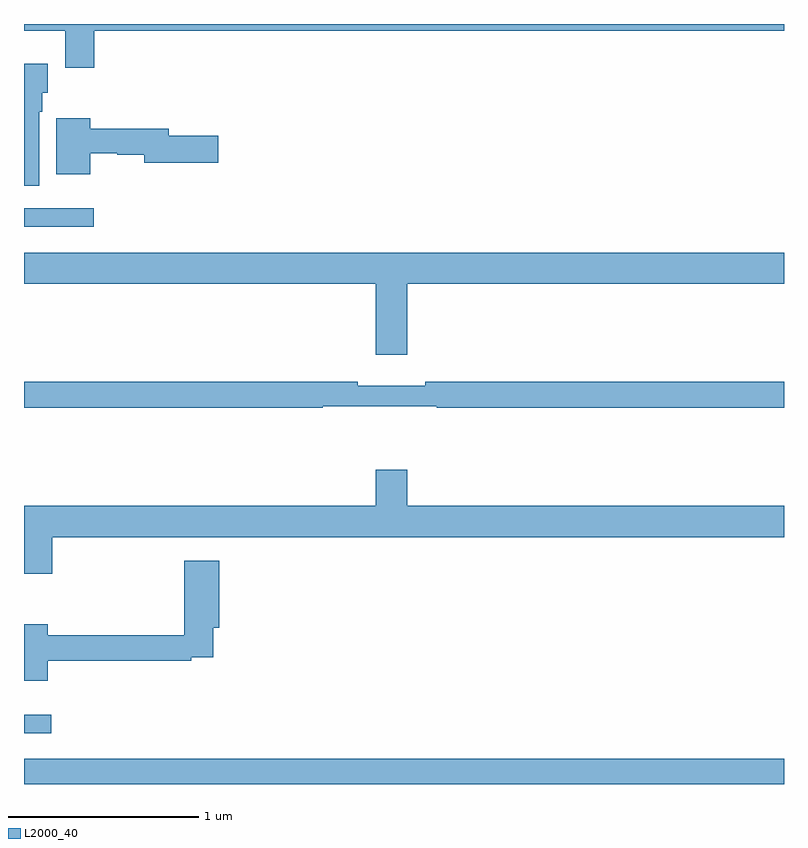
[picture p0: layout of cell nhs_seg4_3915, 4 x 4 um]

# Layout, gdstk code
import gdstk
lib = gdstk.Library(unit=1e-6, precision=1e-09)
def R(c, l, rs):  # rectangles x0, y0, x1, y1
    for r in rs: c.add(gdstk.rectangle(r[:2], r[2:], *l))
def P(c, l, *ps):  # polygons
    for p in ps: c.add(gdstk.Polygon(p, *l))
L2000_40 = (2000, 40)

nhs_seg4_3915 = lib.new_cell('nhs_seg4_3915')
R(nhs_seg4_3915, L2000_40, [(319,748.9,323,749.032), (319,749.168,319.144,749.265), (319,751.832,319.366,751.929)])
P(nhs_seg4_3915, L2000_40, [(319.37,752.864),(323,752.864),(323,752.9),(319,752.9),(319,752.864),(319.217,752.864),(319.217,752.67),(319.37,752.67)],
  [(319.081,752.438),(319.096,752.438),(319.096,752.538),(319.126,752.538),(319.126,752.692),(319,752.692),(319,752.049),(319.081,752.049)],
  [(319.348,752.22),(319.491,752.22),(319.491,752.212),(319.634,752.212),(319.634,752.17),(320.023,752.17),(320.023,752.312),(319.762,752.312),(319.762,752.348),(319.348,752.348),(319.348,752.404),(319.169,752.404),(319.169,752.108),(319.348,752.108)],
  [(321.016,751.532),(323,751.532),(323,751.696),(319,751.696),(319,751.532),(320.852,751.532),(320.852,751.158),(321.016,751.158)],
  [(320.572,750.888),(321.172,750.888),(321.172,750.88),(323,750.88),(323,751.016),(321.112,751.016),(321.112,750.997),(320.756,750.997),(320.756,751.016),(319,751.016),(319,750.88),(320.572,750.88)],
  [(319.148,750.2),(323,750.2),(323,750.364),(321.016,750.364),(321.016,750.553),(320.852,750.553),(320.852,750.364),(319,750.364),(319,750.006),(319.148,750.006)],
  [(319.126,749.548),(319.88,749.548),(319.88,749.568),(319.997,749.568),(319.997,749.723),(320.027,749.723),(320.027,750.076),(319.844,750.076),(319.844,749.684),(319.126,749.684),(319.126,749.74),(319,749.74),(319,749.444),(319.126,749.444)])

lib.write_gds('nhs_seg4_3915.gds')
